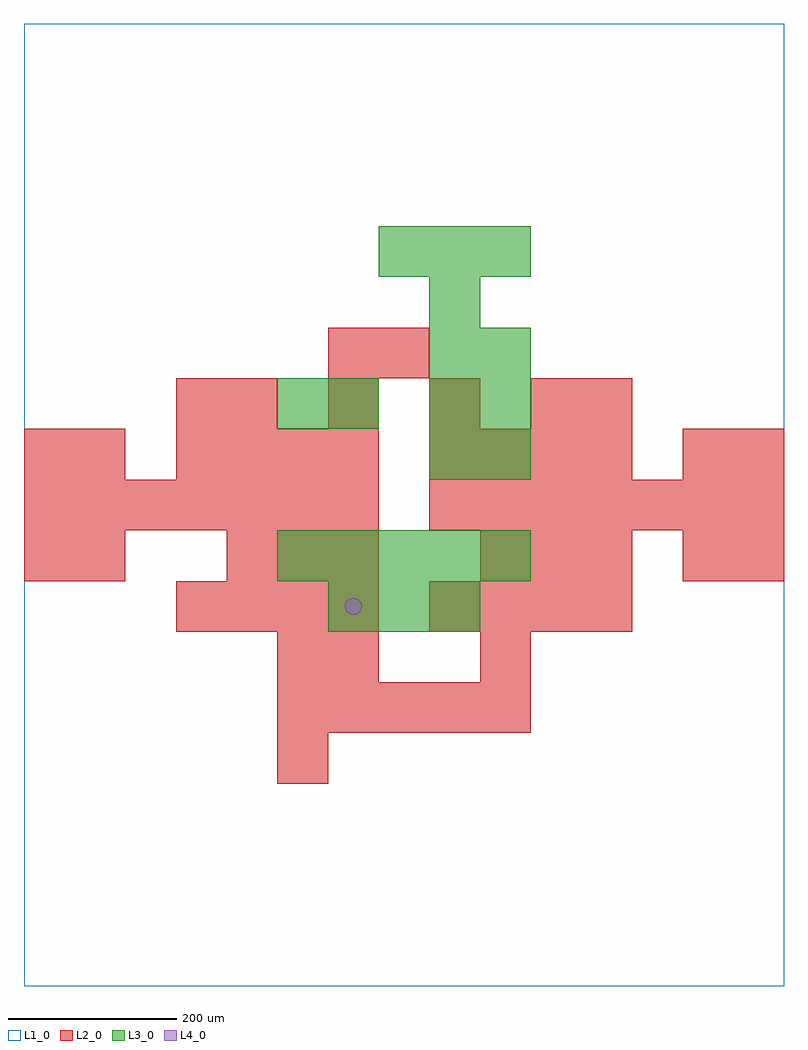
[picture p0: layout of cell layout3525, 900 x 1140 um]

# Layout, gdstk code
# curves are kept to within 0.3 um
import gdstk
lib = gdstk.Library(unit=1e-6, precision=1e-09)
def R(c, l, rs):  # rectangles x0, y0, x1, y1
    for r in rs: c.add(gdstk.rectangle(r[:2], r[2:], *l))
def A(c, l, x, y, w, h, nx, ny, dx, dy):  # array of equal rectangles
    R(c, l, [(x+i*dx, y+j*dy, x+i*dx+w, y+j*dy+h) for i in range(nx) for j in range(ny)])
def P(c, l, *ps):  # polygons
    for p in ps: c.add(gdstk.Polygon(p, *l))
L1_0 = (1, 0)
L2_0 = (2, 0)
L3_0 = (3, 0)
L4_0 = (4, 0)

layout3525 = lib.new_cell('layout3525')
R(layout3525, L1_0, [(0,0,900,1140)])
A(layout3525, L2_0, 300, 300, 60, 60, 5, 1, 60, 0)
A(layout3525, L2_0, 180, 420, 60, 60, 4, 2, 60, 180)
A(layout3525, L2_0, 480, 420, 60, 60, 4, 2, 60, 180)
A(layout3525, L2_0, 240, 480, 60, 60, 3, 1, 60, 0)
A(layout3525, L2_0, 540, 480, 60, 60, 3, 1, 60, 0)
A(layout3525, L2_0, 0, 540, 60, 60, 7, 1, 60, 0)
A(layout3525, L2_0, 480, 540, 60, 60, 7, 1, 60, 0)
A(layout3525, L2_0, 240, 660, 60, 60, 4, 1, 120, 0)
R(layout3525, L2_0, [(300,240,360,300), (300,360,360,420), (360,360,420,420), (540,360,600,420), (0,480,60,540), (60,480,120,540), (780,480,840,540), (840,480,900,540), (0,600,60,660), (60,600,120,660), (780,600,840,660), (840,600,900,660), (180,660,240,720), (660,660,720,720), (360,720,420,780), (420,720,480,780)])
A(layout3525, L3_0, 360, 420, 60, 60, 3, 1, 60, 0)
A(layout3525, L3_0, 300, 480, 60, 60, 5, 1, 60, 0)
A(layout3525, L3_0, 480, 600, 60, 60, 1, 4, 0, 60)
A(layout3525, L3_0, 540, 600, 60, 60, 1, 3, 0, 60)
A(layout3525, L3_0, 420, 840, 60, 60, 3, 1, 60, 0)
R(layout3525, L3_0, [(300,660,360,720), (360,660,420,720)])
P(layout3525, L4_0, [(400,450),(399.239,453.827),(397.071,457.071),(393.827,459.239),(390,460),(386.173,459.239),(382.929,457.071),(380.761,453.827),(380,450),(380.761,446.173),(382.929,442.929),(386.173,440.761),(390,440),(393.827,440.761),(397.071,442.929),(399.239,446.173)])

lib.write_gds('layout3525.gds')
